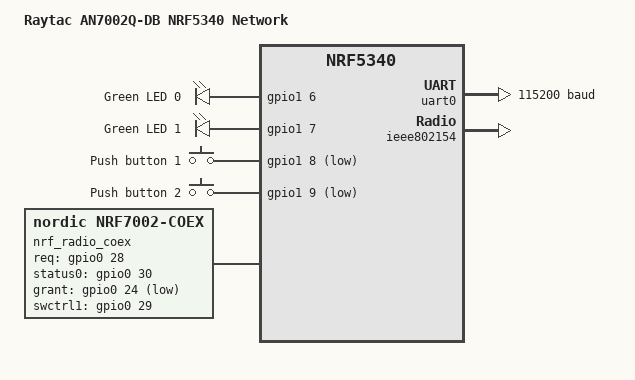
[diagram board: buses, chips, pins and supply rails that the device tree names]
/*
 * Copyright (c) 2024 Nordic Semiconductor ASA
 * Copyright (c) 2025 Raytac Corporation.
 * SPDX-License-Identifier: Apache-2.0
 */

/dts-v1/;
#include <nordic/nrf5340_cpunet_qkaa.dtsi>
#include "raytac_an7002q_db_nrf5340_cpunet_pinctrl.dtsi"
#include <zephyr/dt-bindings/input/input-event-codes.h>

/ {
	model = "Raytac AN7002Q-DB NRF5340 Network";
	compatible = "raytac,raytac-an7002q-db-nrf5340-cpunet";

	chosen {
		zephyr,console = &uart0;
		zephyr,shell-uart = &uart0;
		zephyr,uart-mcumgr = &uart0;
		zephyr,bt-mon-uart = &uart0;
		zephyr,bt-c2h-uart = &uart0;
		zephyr,bt-hci-ipc = &ipc0;
		nordic,802154-spinel-ipc = &ipc0;
		zephyr,sram = &sram1;
		zephyr,flash = &flash1;
		zephyr,code-partition = &slot0_partition;
		zephyr,ieee802154 = &ieee802154;
	};

	leds {
		compatible = "gpio-leds";

		led0: led_0 {
			gpios = <&gpio1 6 GPIO_ACTIVE_HIGH>;
			label = "Green LED 0";
		};

		led1: led_1 {
			gpios = <&gpio1 7 GPIO_ACTIVE_HIGH>;
			label = "Green LED 1";
		};
	};

	buttons {
		compatible = "gpio-keys";

		button0: button_0 {
			gpios = <&gpio1 8 (GPIO_PULL_UP | GPIO_ACTIVE_LOW)>;
			label = "Push button 1";
			zephyr,code = <INPUT_KEY_0>;
		};

		button1: button_1 {
			gpios = <&gpio1 9 (GPIO_PULL_UP | GPIO_ACTIVE_LOW)>;
			label = "Push button 2";
			zephyr,code = <INPUT_KEY_1>;
		};
	};

	nrf_radio_coex: coex {
		status = "okay";
		compatible = "nordic,nrf7002-coex";

		req-gpios = <&gpio0 28 GPIO_ACTIVE_HIGH>;
		status0-gpios = <&gpio0 30 GPIO_ACTIVE_HIGH>;
		grant-gpios = <&gpio0 24 (GPIO_PULL_DOWN | GPIO_ACTIVE_LOW)>;
		swctrl1-gpios = <&gpio0 29 GPIO_ACTIVE_HIGH>;
	};

	/* These aliases are provided for compatibility with samples */
	aliases {
		led0 = &led0;
		led1 = &led1;
		sw0 = &button0;
		sw1 = &button1;
		mcuboot-button0 = &button0;
		mcuboot-led0 = &led0;
		watchdog0 = &wdt0;
	};
};

&gpiote {
	status = "okay";
};

&gpio0 {
	status = "okay";
};

&gpio1 {
	status = "okay";
};

&uart0 {
	status = "okay";
	current-speed = <115200>;
	pinctrl-0 = <&uart0_default>;
	pinctrl-1 = <&uart0_sleep>;
	pinctrl-names = "default", "sleep";
};

&i2c0 {
	compatible = "nordic,nrf-twim";
	/* Cannot be used together with uart0. */
	/* status = "okay"; */

	pinctrl-0 = <&i2c0_default>;
	pinctrl-1 = <&i2c0_sleep>;
	pinctrl-names = "default", "sleep";
};

&spi0 {
	compatible = "nordic,nrf-spim";
	/* Cannot be used together with uart0. */
	/* status = "okay"; */

	cs-gpios = <&gpio0 16 GPIO_ACTIVE_LOW>;
	pinctrl-0 = <&spi0_default>;
	pinctrl-1 = <&spi0_sleep>;
	pinctrl-names = "default", "sleep";
};

&flash1 {
	partitions {
		compatible = "fixed-partitions";
		#address-cells = <1>;
		#size-cells = <1>;

		boot_partition: partition@0 {
			label = "mcuboot";
			reg = <0x00000000 0xc000>;
		};

		slot0_partition: partition@c000 {
			label = "image-0";
			reg = <0x0000C000 0x17000>;
		};

		slot1_partition: partition@23000 {
			label = "image-1";
			reg = <0x00023000 0x17000>;
		};

		storage_partition: partition@3a000 {
			label = "storage";
			reg = <0x0003a000 0x6000>;
		};
	};
};

&ieee802154 {
	status = "okay";
};

/* Include default shared RAM configuration file */
#include <vendor/nordic/nrf5340_shared_sram_partition.dtsi>
